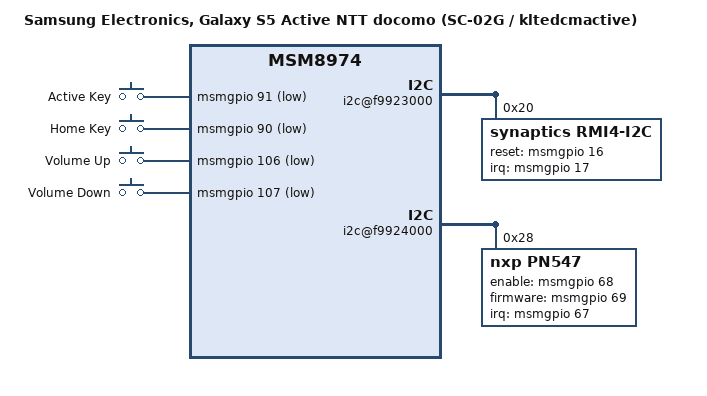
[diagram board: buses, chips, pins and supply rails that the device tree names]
/*
 * Device Tree Source for Qualcomm MSM8974PRO-AC Samsung Galaxy S5 Active (SC-02G / kltedcmactive)
 *
 * Copyright (c) 2014, The Linux Foundation. All rights reserved.
 * Copyright (c) 2015-2018, Samsung Electronics Co., Ltd.
 */

/dts-v1/;

#include "msm8974pro-ac.dtsi"
#include "msm8974-sec-klte.dtsi"

/ {
	model = "Samsung Electronics, Galaxy S5 Active NTT docomo (SC-02G / kltedcmactive)";
	compatible = "samsung,kltedcmactive", "qcom,msm8974pro-ac", "qcom,msm8974";
	qcom,msm-id = <194 0x20000>;
	qcom,board-id = <0x8 0x0>;

	/* Dedicated Active Key (Orange button on left side) */
	gpio_keys {
		compatible = "gpio-keys";
		#address-cells = <1>;
		#size-cells = <0>;

		button@active {
			label = "Active Key";
			linux,code = <249>; /* KEY_APPSELECT */
			gpios = <&msmgpio 91 0x1>; /* Active key GPIO pin 91 */
			gpio-key,wakeup;
			debounce-interval = <15>;
		};

		button@home {
			label = "Home Key";
			linux,code = <172>; /* KEY_HOME */
			gpios = <&msmgpio 90 0x1>;
			gpio-key,wakeup;
			debounce-interval = <15>;
		};

		button@volup {
			label = "Volume Up";
			linux,code = <115>; /* KEY_VOLUMEUP */
			gpios = <&msmgpio 106 0x1>;
			debounce-interval = <15>;
		};

		button@voldown {
			label = "Volume Down";
			linux,code = <114>; /* KEY_VOLUMEDOWN */
			gpios = <&msmgpio 107 0x1>;
			debounce-interval = <15>;
		};
	};

	/* Synaptics Touchscreen & Front Physical Nav Keys */
	i2c@f9923000 {
		synaptics@20 {
			compatible = "synaptics,rmi4-i2c";
			reg = <0x20>;
			interrupt-parent = <&msmgpio>;
			interrupts = <17 0x2>;
			synaptics,reset-gpio = <&msmgpio 16 0x0>;
			synaptics,irq-gpio = <&msmgpio 17 0x2008>;
			synaptics,display-coords = <0 0 1080 1920>;
			synaptics,sensor-coords = <0 0 1080 1920>;
		};
	};

	/* NFC NXP PN547 / FeliCa eSE I2C connection */
	i2c@f9924000 {
		pn547: pn547@28 {
			compatible = "nxp,pn547";
			reg = <0x28>;
			interrupt-parent = <&msmgpio>;
			interrupts = <67 0x2>;
			nxp,enable-gpio = <&msmgpio 68 0x0>;
			nxp,firmware-gpio = <&msmgpio 69 0x0>;
		};
	};

	/* Samsung AMOLED Display Subsystem (S6E3HA2) */
	mdss_dsi0: qcom,mdss_dsi@fd922800 {
		qcom,dsi-pref-prim-pan = <&dsi_samsung_ea8061_fhd_cmd>;
		pinctrl-names = "default", "sleep";
		pinctrl-0 = <&mdss_dsi_active &mdss_te_active>;
		pinctrl-1 = <&mdss_dsi_suspend &mdss_te_suspend>;
	};
};
